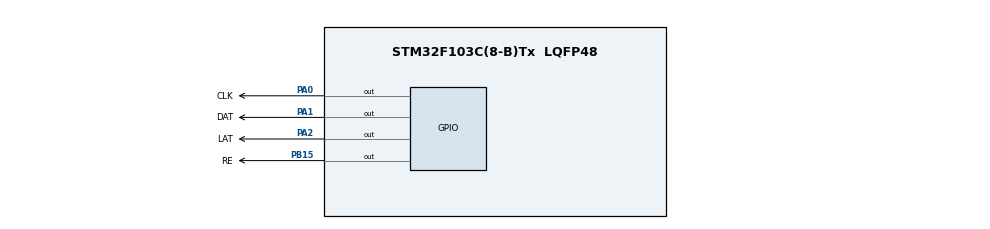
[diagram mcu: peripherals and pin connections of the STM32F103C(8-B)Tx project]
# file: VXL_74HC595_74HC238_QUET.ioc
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Mcu.Family=STM32F1
Mcu.Name=STM32F103C(8-B)Tx
Mcu.Package=LQFP48
NVIC.PriorityGroup=NVIC_PRIORITYGROUP_4
PA0-WKUP.GPIO_Label=CLK
PA0-WKUP.Signal=GPIO_Output
PA1.GPIO_Label=DAT
PA1.Signal=GPIO_Output
PA13.Mode=Serial_Wire
PA13.Signal=SYS_JTMS-SWDIO
PA14.Mode=Serial_Wire
PA14.Signal=SYS_JTCK-SWCLK
PA2.GPIO_Label=LAT
PA2.Signal=GPIO_Output
PB15.GPIO_Label=RE
PB15.Signal=GPIO_Output
ProjectManager.HeapSize=0x200
ProjectManager.StackSize=0x400
ProjectManager.TargetToolchain=MDK-ARM V5.32
RCC.APB1Freq_Value=8000000
RCC.APB2Freq_Value=8000000
board=custom

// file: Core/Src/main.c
/* USER CODE BEGIN Header */
/**
  ******************************************************************************
  * @file           : main.c
  * @brief          : Main program body
  ******************************************************************************
  * @attention
  *
  * Copyright (c) 2023 STMicroelectronics.
  * All rights reserved.
  *
  * This software is licensed under terms that can be found in the LICENSE file
  * in the root directory of this software component.
  * If no LICENSE file comes with this software, it is provided AS-IS.
  *
  ******************************************************************************
  */
/* USER CODE END Header */
#include "main.h"

/* USER CODE BEGIN PV */

const uint8_t NUM[10][8] = {0xff,0xc1,0xae,0xb6,0xba,0xc1,0xff,0xff,  //0      const nam trong ROM
														0xff,0xff,0xbd,0x80,0xbf,0xff,0xff,0xff,	 //1
														0xff,0xbd,0x9e,0xae,0xb6,0xb9,0xff,0xff,  //2
														0xff,0xde,0xbe,0xba,0xb4,0xce,0xff,0xff,  //3
														0xff,0xe7,0xeb,0xed,0x80,0xef,0xff,0xff,  //4
														0xff,0xd8,0xba,0xba,0xba,0xc6,0xff,0xff,  //5
														0xff,0xc3,0xb5,0xb6,0xb6,0xcf,0xff,0xff,  //6
														0xff,0xfe,0x8e,0xf6,0xfa,0xfc,0xff,0xff,  //7
														0xff,0xc9,0xb6,0xb6,0xb6,0xc9,0xff,0xff,  //8
														0xff,0xf9,0xb6,0xb6,0xd6,0xe1,0xff,0xff}; //9

/* USER CODE END PV */

void SystemClock_Config(void);
static void MX_GPIO_Init(void);

/* USER CODE BEGIN 0 */
void CLK(uint32_t n){
	while(n>0){
		HAL_GPIO_WritePin(CLK_GPIO_Port,CLK_Pin,1);
		HAL_GPIO_WritePin(CLK_GPIO_Port,CLK_Pin,0);
		n = n-1;
	}
}

void NUM_display(uint8_t row, uint8_t col){
	// Xung kich lan luot 8 cot
	HAL_GPIO_WritePin(DAT_GPIO_Port,DAT_Pin,col>>2&1u);
	CLK(1);
	HAL_GPIO_WritePin(DAT_GPIO_Port,DAT_Pin,col>>1&1u);
	CLK(1);
	HAL_GPIO_WritePin(DAT_GPIO_Port,DAT_Pin,col&1u);
	CLK(1);

	for(int8_t i = 0; i < 8;i++){
		HAL_GPIO_WritePin(DAT_GPIO_Port,DAT_Pin,NUM[row][col]>>i&1u); // hang m , cot n
		CLK(1);
	}
	// Hien thi
	HAL_GPIO_WritePin(LAT_GPIO_Port,LAT_Pin,1);
	HAL_GPIO_WritePin(LAT_GPIO_Port,LAT_Pin,0);

	// Cach 1
	//HAL_GPIO_WritePin(RE_GPIO_Port,RE_Pin,1);
	//HAL_Delay(1); //<8.4ms
	//HAL_GPIO_WritePin(RE_GPIO_Port,RE_Pin,0); //RESET

	// Cach 2
	HAL_Delay(1); //<8.4ms
	for(int8_t i = 0; i < 8;i++){
		HAL_GPIO_WritePin(DAT_GPIO_Port,DAT_Pin,1); // off all . chong lem
		CLK(1);
	}
	//Hien thi
	HAL_GPIO_WritePin(LAT_GPIO_Port,LAT_Pin,1);
	HAL_GPIO_WritePin(LAT_GPIO_Port,LAT_Pin,0);
}

/* USER CODE END 0 */

int main(void)
{

  /* MCU Configuration--------------------------------------------------------*/

  /* Reset of all peripherals, Initializes the Flash interface and the Systick. */
  HAL_Init();

  /* Configure the system clock */
  SystemClock_Config();

  /* Initialize all configured peripherals */
  MX_GPIO_Init();

  /* Infinite loop */
  while (1)
  {
		for (uint8_t m = 0;m<10;m++)
		{
			for (uint8_t k = 0;k<50;k++) // tao do tre = delay
			{
				for (uint8_t n = 0;n<8;n++)
				{
					NUM_display(m,n);
				}
			}
		}
		//HAL_Delay(1);
  }
}

void SystemClock_Config(void)
{
  RCC_OscInitTypeDef RCC_OscInitStruct = {0};
  RCC_ClkInitTypeDef RCC_ClkInitStruct = {0};

  /** Initializes the RCC Oscillators according to the specified parameters
  * in the RCC_OscInitTypeDef structure.
  */
  RCC_OscInitStruct.OscillatorType = RCC_OSCILLATORTYPE_HSI;
  RCC_OscInitStruct.HSIState = RCC_HSI_ON;
  RCC_OscInitStruct.HSICalibrationValue = RCC_HSICALIBRATION_DEFAULT;
  RCC_OscInitStruct.PLL.PLLState = RCC_PLL_NONE;
  if (HAL_RCC_OscConfig(&RCC_OscInitStruct) != HAL_OK)
  {
    Error_Handler();
  }

  /** Initializes the CPU, AHB and APB buses clocks
  */
  RCC_ClkInitStruct.ClockType = RCC_CLOCKTYPE_HCLK|RCC_CLOCKTYPE_SYSCLK
                              |RCC_CLOCKTYPE_PCLK1|RCC_CLOCKTYPE_PCLK2;
  RCC_ClkInitStruct.SYSCLKSource = RCC_SYSCLKSOURCE_HSI;
  RCC_ClkInitStruct.AHBCLKDivider = RCC_SYSCLK_DIV1;
  RCC_ClkInitStruct.APB1CLKDivider = RCC_HCLK_DIV1;
  RCC_ClkInitStruct.APB2CLKDivider = RCC_HCLK_DIV1;

  if (HAL_RCC_ClockConfig(&RCC_ClkInitStruct, FLASH_LATENCY_0) != HAL_OK)
  {
    Error_Handler();
  }
}

static void MX_GPIO_Init(void)
{
  GPIO_InitTypeDef GPIO_InitStruct = {0};

  /* GPIO Ports Clock Enable */
  __HAL_RCC_GPIOC_CLK_ENABLE();
  __HAL_RCC_GPIOD_CLK_ENABLE();
  __HAL_RCC_GPIOA_CLK_ENABLE();
  __HAL_RCC_GPIOB_CLK_ENABLE();

  /*Configure GPIO pin Output Level */
  HAL_GPIO_WritePin(GPIOA, CLK_Pin|DAT_Pin|LAT_Pin, GPIO_PIN_RESET);

  /*Configure GPIO pin Output Level */
  HAL_GPIO_WritePin(RE_GPIO_Port, RE_Pin, GPIO_PIN_RESET);

  /*Configure GPIO pins : PC13 PC14 PC15 */
  GPIO_InitStruct.Pin = GPIO_PIN_13|GPIO_PIN_14|GPIO_PIN_15;
  GPIO_InitStruct.Mode = GPIO_MODE_ANALOG;
  HAL_GPIO_Init(GPIOC, &GPIO_InitStruct);

  /*Configure GPIO pins : PD0 PD1 */
  GPIO_InitStruct.Pin = GPIO_PIN_0|GPIO_PIN_1;
  GPIO_InitStruct.Mode = GPIO_MODE_ANALOG;
  HAL_GPIO_Init(GPIOD, &GPIO_InitStruct);

  /*Configure GPIO pins : CLK_Pin DAT_Pin LAT_Pin */
  GPIO_InitStruct.Pin = CLK_Pin|DAT_Pin|LAT_Pin;
  GPIO_InitStruct.Mode = GPIO_MODE_OUTPUT_PP;
  GPIO_InitStruct.Pull = GPIO_NOPULL;
  GPIO_InitStruct.Speed = GPIO_SPEED_FREQ_LOW;
  HAL_GPIO_Init(GPIOA, &GPIO_InitStruct);

  /*Configure GPIO pins : PA3 PA4 PA5 PA6
                           PA7 PA8 PA9 PA10
                           PA11 PA12 PA15 */
  GPIO_InitStruct.Pin = GPIO_PIN_3|GPIO_PIN_4|GPIO_PIN_5|GPIO_PIN_6
                          |GPIO_PIN_7|GPIO_PIN_8|GPIO_PIN_9|GPIO_PIN_10
                          |GPIO_PIN_11|GPIO_PIN_12|GPIO_PIN_15;
  GPIO_InitStruct.Mode = GPIO_MODE_ANALOG;
  HAL_GPIO_Init(GPIOA, &GPIO_InitStruct);

  /*Configure GPIO pins : PB0 PB1 PB2 PB10
                           PB11 PB12 PB13 PB14
                           PB3 PB4 PB5 PB6
                           PB7 PB8 PB9 */
  GPIO_InitStruct.Pin = GPIO_PIN_0|GPIO_PIN_1|GPIO_PIN_2|GPIO_PIN_10
                          |GPIO_PIN_11|GPIO_PIN_12|GPIO_PIN_13|GPIO_PIN_14
                          |GPIO_PIN_3|GPIO_PIN_4|GPIO_PIN_5|GPIO_PIN_6
                          |GPIO_PIN_7|GPIO_PIN_8|GPIO_PIN_9;
  GPIO_InitStruct.Mode = GPIO_MODE_ANALOG;
  HAL_GPIO_Init(GPIOB, &GPIO_InitStruct);

  /*Configure GPIO pin : RE_Pin */
  GPIO_InitStruct.Pin = RE_Pin;
  GPIO_InitStruct.Mode = GPIO_MODE_OUTPUT_PP;
  GPIO_InitStruct.Pull = GPIO_NOPULL;
  GPIO_InitStruct.Speed = GPIO_SPEED_FREQ_LOW;
  HAL_GPIO_Init(RE_GPIO_Port, &GPIO_InitStruct);

  /*Configure peripheral I/O remapping */
  __HAL_AFIO_REMAP_PD01_ENABLE();

}

void Error_Handler(void)
{
  __disable_irq();
  while (1)
  {
  }
}
